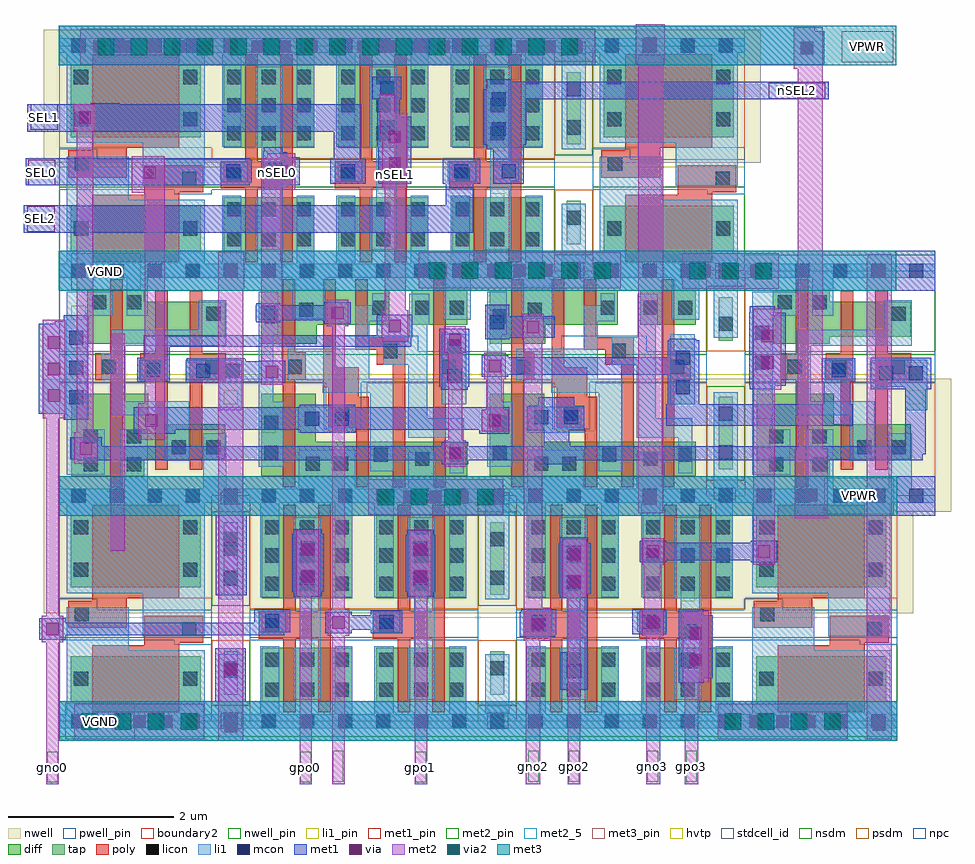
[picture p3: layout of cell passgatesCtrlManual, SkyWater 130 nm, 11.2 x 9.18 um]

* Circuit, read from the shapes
.subckt passgatesCtrlManual SEL0 SEL1 SEL2 VGND VPWR gno0 gno1 gno2 gno3 gpo0 gpo1 gpo2 gpo3 nSEL0 nSEL1 nSEL2
XM1 VGND VPWR VGND VGND sky130_fd_pr__nfet_01v8 w=0.55 l=1.05 m=4
XM2 VGND n1 gno0 VGND sky130_fd_pr__nfet_01v8 w=0.65 l=0.15
XM3 n2 nSEL1 VGND VGND sky130_fd_pr__nfet_01v8 w=0.42 l=0.15
XM4 n1 nSEL0 n2 VGND sky130_fd_pr__nfet_01v8 w=0.42 l=0.15
XM5 nSEL0 SEL0 VGND VGND sky130_fd_pr__nfet_01v8 w=0.65 l=0.15 m=2
XM6 VGND n3 gno1 VGND sky130_fd_pr__nfet_01v8 w=0.65 l=0.15
XM7 gpo0 gno0 VGND VGND sky130_fd_pr__nfet_01v8 w=0.65 l=0.15 m=2
XM8 n4 SEL0 VGND VGND sky130_fd_pr__nfet_01v8 w=0.42 l=0.15
XM9 n3 n5 n4 VGND sky130_fd_pr__nfet_01v8 w=0.42 l=0.15
XM10 nSEL1 SEL1 VGND VGND sky130_fd_pr__nfet_01v8 w=0.65 l=0.15 m=2
XM11 gpo1 gno1 VGND VGND sky130_fd_pr__nfet_01v8 w=0.65 l=0.15 m=2
XM12 VGND SEL1 n5 VGND sky130_fd_pr__nfet_01v8 w=0.42 l=0.15
XM13 nSEL2 SEL2 VGND VGND sky130_fd_pr__nfet_01v8 w=0.65 l=0.15 m=2
XM14 VGND n6 gno2 VGND sky130_fd_pr__nfet_01v8 w=0.65 l=0.15
XM15 gpo2 gno2 VGND VGND sky130_fd_pr__nfet_01v8 w=0.65 l=0.15 m=2
XM16 n7 SEL1 VGND VGND sky130_fd_pr__nfet_01v8 w=0.42 l=0.15
XM17 n6 n8 n7 VGND sky130_fd_pr__nfet_01v8 w=0.42 l=0.15
XM18 VGND SEL0 n8 VGND sky130_fd_pr__nfet_01v8 w=0.42 l=0.15
XM19 gpo3 gno3 VGND VGND sky130_fd_pr__nfet_01v8 w=0.65 l=0.15 m=2
XM20 VGND n9 gno3 VGND sky130_fd_pr__nfet_01v8 w=0.65 l=0.15
XM21 n10 SEL0 VGND VGND sky130_fd_pr__nfet_01v8 w=0.42 l=0.15
XM22 n9 SEL1 n10 VGND sky130_fd_pr__nfet_01v8 w=0.42 l=0.15
XM23 VPWR VGND VPWR VPWR sky130_fd_pr__pfet_01v8_hvt w=0.87 l=1.05 m=4
XM24 VPWR n1 gno0 VPWR sky130_fd_pr__pfet_01v8_hvt w=1 l=0.15
XM25 n1 nSEL1 VPWR VPWR sky130_fd_pr__pfet_01v8_hvt w=0.42 l=0.15
XM26 VPWR nSEL0 n1 VPWR sky130_fd_pr__pfet_01v8_hvt w=0.42 l=0.15
XM27 nSEL0 SEL0 VPWR VPWR sky130_fd_pr__pfet_01v8_hvt w=1 l=0.15 m=2
XM28 VPWR n3 gno1 VPWR sky130_fd_pr__pfet_01v8_hvt w=1 l=0.15
XM29 gpo0 gno0 VPWR VPWR sky130_fd_pr__pfet_01v8_hvt w=1 l=0.15 m=2
XM30 n3 SEL0 VPWR VPWR sky130_fd_pr__pfet_01v8_hvt w=0.42 l=0.15
XM31 nSEL1 SEL1 VPWR VPWR sky130_fd_pr__pfet_01v8_hvt w=1 l=0.15 m=2
XM32 VPWR n5 n3 VPWR sky130_fd_pr__pfet_01v8_hvt w=0.42 l=0.15
XM33 gpo1 gno1 VPWR VPWR sky130_fd_pr__pfet_01v8_hvt w=1 l=0.15 m=2
XM34 n5 SEL1 VPWR VPWR sky130_fd_pr__pfet_01v8_hvt w=0.42 l=0.15
XM35 nSEL2 SEL2 VPWR VPWR sky130_fd_pr__pfet_01v8_hvt w=1 l=0.15 m=2
XM36 VPWR n6 gno2 VPWR sky130_fd_pr__pfet_01v8_hvt w=1 l=0.15
XM37 gpo2 gno2 VPWR VPWR sky130_fd_pr__pfet_01v8_hvt w=1 l=0.15 m=2
XM38 n6 SEL1 VPWR VPWR sky130_fd_pr__pfet_01v8_hvt w=0.42 l=0.15
XM39 VPWR n8 n6 VPWR sky130_fd_pr__pfet_01v8_hvt w=0.42 l=0.15
XM40 n8 SEL0 VPWR VPWR sky130_fd_pr__pfet_01v8_hvt w=0.42 l=0.15
XM41 gpo3 gno3 VPWR VPWR sky130_fd_pr__pfet_01v8_hvt w=1 l=0.15 m=2
XM42 VPWR n9 gno3 VPWR sky130_fd_pr__pfet_01v8_hvt w=1 l=0.15
XM43 n9 SEL0 VPWR VPWR sky130_fd_pr__pfet_01v8_hvt w=0.42 l=0.15
XM44 VPWR SEL1 n9 VPWR sky130_fd_pr__pfet_01v8_hvt w=0.42 l=0.15
.ends

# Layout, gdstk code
from math import pi, radians
import gdstk
lib = gdstk.Library(unit=1e-6, precision=1e-09)
def R(c, l, rs):  # rectangles x0, y0, x1, y1
    for r in rs: c.add(gdstk.rectangle(r[:2], r[2:], *l))
def A(c, l, x, y, w, h, nx, ny, dx, dy):  # array of equal rectangles
    R(c, l, [(x+i*dx, y+j*dy, x+i*dx+w, y+j*dy+h) for i in range(nx) for j in range(ny)])
def P(c, l, *ps):  # polygons
    for p in ps: c.add(gdstk.Polygon(p, *l))
nwell_pin = (64, 16)
nwell = (64, 20)
diff = (65, 20)
tap = (65, 44)
poly = (66, 20)
licon = (66, 44)
li1_pin = (67, 16)
li1 = (67, 20)
mcon = (67, 44)
met1_pin = (68, 16)
met1 = (68, 20)
via = (68, 44)
met2_5 = (69, 5)
met2_pin = (69, 16)
met2 = (69, 20)
via2 = (69, 44)
met3_pin = (70, 16)
met3 = (70, 20)
hvtp = (78, 44)
stdcell_id = (81, 4)
nsdm = (93, 44)
psdm = (94, 20)
npc = (95, 20)
pwell_pin = (122, 16)
boundary2 = (236, 0)

sky130_fd_sc_hd__decap_4 = lib.new_cell('sky130_fd_sc_hd__decap_4')
R(sky130_fd_sc_hd__decap_4, nwell_pin, [(0.145,2.635,0.315,2.805)])
R(sky130_fd_sc_hd__decap_4, nwell, [(-0.19,1.305,2.03,2.91)])
R(sky130_fd_sc_hd__decap_4, diff, [(0.135,0.235,1.705,0.785), (0.135,1.615,1.705,2.485)])
P(sky130_fd_sc_hd__decap_4, poly, [(1.445,2.615),(0.395,2.615),(0.395,1.455),(0.105,1.455),(0.105,1.125),(0.815,1.125),(0.815,1.485),(1.445,1.485)],
  [(1.735,1.275),(1.025,1.275),(1.025,0.915),(0.395,0.915),(0.395,0.105),(1.445,0.105),(1.445,0.945),(1.735,0.945)])
R(sky130_fd_sc_hd__decap_4, licon, [(0.175,0.425,0.345,0.595), (1.495,0.425,1.665,0.595), (1.485,1.025,1.655,1.195), (0.185,1.205,0.355,1.375), (0.175,1.745,0.345,1.915), (1.495,1.745,1.665,1.915), (0.175,2.255,0.345,2.425), (1.495,2.255,1.665,2.425)])
P(sky130_fd_sc_hd__decap_4, li1, [(1.84,2.805),(0,2.805),(0,2.635),(0.085,2.635),(0.085,1.545),(1.005,1.545),(1.005,1.025),(1.755,1.025),(1.755,2.635),(1.84,2.635)],
  [(1.84,0.085),(1.755,0.085),(1.755,0.855),(0.835,0.855),(0.835,1.375),(0.085,1.375),(0.085,0.085),(0,0.085),(0,-0.085),(1.84,-0.085)])
A(sky130_fd_sc_hd__decap_4, mcon, 0.145, -0.085, 0.17, 0.17, 4, 2, 0.46, 2.72)
R(sky130_fd_sc_hd__decap_4, met1_pin, [(0.145,-0.085,0.315,0.085), (0.145,2.635,0.315,2.805)])
R(sky130_fd_sc_hd__decap_4, hvtp, [(0,1.25,1.84,2.72)])
R(sky130_fd_sc_hd__decap_4, stdcell_id, [(0,0,1.84,2.72)])
R(sky130_fd_sc_hd__decap_4, nsdm, [(0,-0.19,1.84,1.015)])
R(sky130_fd_sc_hd__decap_4, psdm, [(0,1.485,1.84,2.91)])
P(sky130_fd_sc_hd__decap_4, npc, [(1.84,1.345),(0.455,1.345),(0.455,1.475),(0,1.475),(0,0.975),(1.385,0.975),(1.385,0.925),(1.84,0.925)])
R(sky130_fd_sc_hd__decap_4, pwell_pin, [(0.145,-0.085,0.315,0.085)])
R(sky130_fd_sc_hd__decap_4, boundary2, [(0,0,1.84,2.72)])
sky130_fd_sc_hd__decap_4.add(gdstk.FlexPath([(0,2.72),(1.84,2.72)], 0.48, ends="flush", simple_path=True, layer=68, datatype=20))  # met1
sky130_fd_sc_hd__decap_4.add(gdstk.FlexPath([(0,0),(1.84,0)], 0.48, ends="flush", simple_path=True, layer=68, datatype=20))  # met1
sky130_fd_sc_hd__decap_4.add(gdstk.Label('VGND', (0.23,0), layer=68, texttype=5))
sky130_fd_sc_hd__decap_4.add(gdstk.Label('VPWR', (0.23,2.72), layer=68, texttype=5))
sky130_fd_sc_hd__decap_4.add(gdstk.Label('VPB', (0.23,2.72), layer=64, texttype=5))
sky130_fd_sc_hd__decap_4.add(gdstk.Label('VNB', (0.23,0), layer=64, texttype=59))
sky130_fd_sc_hd__decap_4.add(gdstk.Label('decap_4', (0,0), layer=83, texttype=44))

sky130_fd_sc_hd__inv_2 = lib.new_cell('sky130_fd_sc_hd__inv_2')
R(sky130_fd_sc_hd__inv_2, nwell_pin, [(0.145,2.635,0.315,2.805)])
R(sky130_fd_sc_hd__inv_2, nwell, [(-0.19,1.305,1.57,2.91)])
R(sky130_fd_sc_hd__inv_2, diff, [(0.145,0.235,1.235,0.885), (0.145,1.485,1.235,2.485)])
P(sky130_fd_sc_hd__inv_2, poly, [(0.975,2.615),(0.825,2.615),(0.825,1.325),(0.555,1.325),(0.555,2.615),(0.405,2.615),(0.405,1.325),(0.105,1.325),(0.105,0.995),(0.405,0.995),(0.405,0.105),(0.555,0.105),(0.555,0.995),(0.825,0.995),(0.825,0.105),(0.975,0.105)])
A(sky130_fd_sc_hd__inv_2, licon, 0.185, 0.295, 0.17, 0.17, 3, 2, 0.42, 0.36)
A(sky130_fd_sc_hd__inv_2, licon, 0.185, 1.575, 0.17, 0.17, 3, 3, 0.42, 0.34)
R(sky130_fd_sc_hd__inv_2, licon, [(0.185,1.075,0.355,1.245)])
A(sky130_fd_sc_hd__inv_2, li1_pin, 0.605, 0.765, 0.17, 0.17, 1, 3, 0, 0.34)
R(sky130_fd_sc_hd__inv_2, li1_pin, [(0.145,1.105,0.315,1.275)])
R(sky130_fd_sc_hd__inv_2, li1, [(0.105,1.075,0.435,1.325)])
P(sky130_fd_sc_hd__inv_2, li1, [(1.38,2.805),(0,2.805),(0,2.635),(0.125,2.635),(0.125,1.495),(0.355,1.495),(0.355,2.635),(1.025,2.635),(1.025,1.495),(1.235,1.495),(1.235,2.635),(1.38,2.635)],
  [(0.855,2.465),(0.525,2.465),(0.525,1.485),(0.605,1.485),(0.605,0.885),(0.525,0.885),(0.525,0.255),(0.855,0.255)],
  [(1.38,0.085),(1.235,0.085),(1.235,0.905),(1.025,0.905),(1.025,0.085),(0.355,0.085),(0.355,0.905),(0.125,0.905),(0.125,0.085),(0,0.085),(0,-0.085),(1.38,-0.085)])
A(sky130_fd_sc_hd__inv_2, mcon, 0.145, -0.085, 0.17, 0.17, 3, 2, 0.46, 2.72)
R(sky130_fd_sc_hd__inv_2, met1_pin, [(0.145,-0.085,0.315,0.085), (0.145,2.635,0.315,2.805)])
R(sky130_fd_sc_hd__inv_2, hvtp, [(0,1.25,1.38,2.72)])
R(sky130_fd_sc_hd__inv_2, stdcell_id, [(0,0,1.38,2.72)])
R(sky130_fd_sc_hd__inv_2, nsdm, [(0,-0.19,1.38,1.015)])
R(sky130_fd_sc_hd__inv_2, psdm, [(0,1.355,1.38,2.91)])
R(sky130_fd_sc_hd__inv_2, npc, [(0,0.975,1.38,1.345)])
R(sky130_fd_sc_hd__inv_2, pwell_pin, [(0.145,-0.085,0.315,0.085)])
R(sky130_fd_sc_hd__inv_2, boundary2, [(0,0,1.38,2.72)])
sky130_fd_sc_hd__inv_2.add(gdstk.FlexPath([(0,2.72),(1.38,2.72)], 0.48, ends="flush", simple_path=True, layer=68, datatype=20))  # met1
sky130_fd_sc_hd__inv_2.add(gdstk.FlexPath([(0,0),(1.38,0)], 0.48, ends="flush", simple_path=True, layer=68, datatype=20))  # met1
sky130_fd_sc_hd__inv_2.add(gdstk.Label('A', (0.23,1.19), layer=67, texttype=5))
sky130_fd_sc_hd__inv_2.add(gdstk.Label('Y', (0.69,0.85), layer=67, texttype=5))
sky130_fd_sc_hd__inv_2.add(gdstk.Label('Y', (0.69,1.53), layer=67, texttype=5))
sky130_fd_sc_hd__inv_2.add(gdstk.Label('Y', (0.69,1.19), layer=67, texttype=5))
sky130_fd_sc_hd__inv_2.add(gdstk.Label('VPB', (0.23,2.72), layer=64, texttype=5))
sky130_fd_sc_hd__inv_2.add(gdstk.Label('VNB', (0.23,0), layer=64, texttype=59))
sky130_fd_sc_hd__inv_2.add(gdstk.Label('VPWR', (0.23,2.72), layer=68, texttype=5))
sky130_fd_sc_hd__inv_2.add(gdstk.Label('VGND', (0.23,0), layer=68, texttype=5))
sky130_fd_sc_hd__inv_2.add(gdstk.Label('inv_2', (0,0), layer=83, texttype=44))

sky130_fd_sc_hd__and2_1 = lib.new_cell('sky130_fd_sc_hd__and2_1')
R(sky130_fd_sc_hd__and2_1, nwell_pin, [(0.145,2.635,0.315,2.805)])
R(sky130_fd_sc_hd__and2_1, nwell, [(-0.19,1.305,2.49,2.91)])
P(sky130_fd_sc_hd__and2_1, diff, [(1.965,0.885),(1.275,0.885),(1.275,0.795),(0.295,0.795),(0.295,0.375),(1.275,0.375),(1.275,0.235),(1.965,0.235)],
  [(2.16,2.485),(1.275,2.485),(1.275,2.275),(0.295,2.275),(0.295,1.855),(1.225,1.855),(1.225,1.485),(2.16,1.485)])
P(sky130_fd_sc_hd__and2_1, poly, [(1.865,1.325),(1.685,1.325),(1.685,2.615),(1.535,2.615),(1.535,0.105),(1.685,0.105),(1.685,0.995),(1.865,0.995)],
  [(0.725,2.405),(0.575,2.405),(0.575,1.325),(0.29,1.325),(0.29,0.995),(0.575,0.995),(0.575,0.245),(0.725,0.245)],
  [(1.325,1.325),(1.145,1.325),(1.145,2.405),(0.995,2.405),(0.995,0.245),(1.145,0.245),(1.145,0.995),(1.325,0.995)])
R(sky130_fd_sc_hd__and2_1, licon, [(1.315,0.295,1.485,0.465), (1.735,0.295,1.905,0.465), (0.355,0.435,0.525,0.605), (0.37,1.075,0.54,1.245), (1.075,1.075,1.245,1.245), (1.615,1.075,1.785,1.245), (1.315,1.915,1.485,2.085), (1.835,1.915,2.005,2.085), (0.355,2.045,0.525,2.215), (0.775,2.045,0.945,2.215), (1.315,2.255,1.485,2.425), (1.835,2.255,2.005,2.425)])
A(sky130_fd_sc_hd__and2_1, li1_pin, 1.985, 0.425, 0.17, 0.17, 1, 6, 0, 0.34)
A(sky130_fd_sc_hd__and2_1, li1_pin, 0.145, 1.105, 0.17, 0.17, 3, 1, 0.46, 0)
R(sky130_fd_sc_hd__and2_1, li1_pin, [(0.145,1.445,0.315,1.615)])
R(sky130_fd_sc_hd__and2_1, li1, [(0.995,1.075,1.335,1.325)])
P(sky130_fd_sc_hd__and2_1, li1, [(2.215,2.465),(1.755,2.465),(1.755,1.915),(1.965,1.915),(1.965,0.545),(1.655,0.545),(1.655,0.255),(2.215,0.255)],
  [(2.3,2.805),(0,2.805),(0,2.635),(0.285,2.635),(0.285,1.965),(0.565,1.965),(0.565,2.635),(1.235,2.635),(1.235,1.915),(1.565,1.915),(1.565,2.635),(2.3,2.635)],
  [(0.1,1.075),(0.1,1.685),(0.365,1.685),(0.365,1.325),(0.775,1.325),(0.775,1.075)],
  [(2.3,0.085),(1.485,0.085),(1.485,0.545),(1.235,0.545),(1.235,0.085),(0,0.085),(0,-0.085),(2.3,-0.085)],
  [(1.795,1.325),(1.675,1.325),(1.675,1.745),(1.035,1.745),(1.035,2.295),(0.735,2.295),(0.735,1.575),(1.505,1.575),(1.505,0.905),(0.285,0.905),(0.285,0.355),(0.615,0.355),(0.615,0.715),(1.675,0.715),(1.675,0.995),(1.795,0.995)])
A(sky130_fd_sc_hd__and2_1, mcon, 0.145, -0.085, 0.17, 0.17, 5, 2, 0.46, 2.72)
R(sky130_fd_sc_hd__and2_1, met1_pin, [(0.145,-0.085,0.315,0.085), (0.145,2.635,0.315,2.805)])
R(sky130_fd_sc_hd__and2_1, hvtp, [(0,1.25,2.3,2.72)])
R(sky130_fd_sc_hd__and2_1, stdcell_id, [(0,0,2.3,2.72)])
R(sky130_fd_sc_hd__and2_1, nsdm, [(0,-0.19,2.3,1.015)])
R(sky130_fd_sc_hd__and2_1, psdm, [(0,1.355,2.3,2.91)])
R(sky130_fd_sc_hd__and2_1, npc, [(0,0.975,2.3,1.345)])
R(sky130_fd_sc_hd__and2_1, pwell_pin, [(0.145,-0.085,0.315,0.085)])
R(sky130_fd_sc_hd__and2_1, boundary2, [(0,0,2.3,2.72)])
sky130_fd_sc_hd__and2_1.add(gdstk.FlexPath([(0,0),(2.3,0)], 0.48, ends="flush", simple_path=True, layer=68, datatype=20))  # met1
sky130_fd_sc_hd__and2_1.add(gdstk.FlexPath([(0,2.72),(2.3,2.72)], 0.48, ends="flush", simple_path=True, layer=68, datatype=20))  # met1
sky130_fd_sc_hd__and2_1.add(gdstk.Label('VPWR', (0.23,2.72), layer=68, texttype=5))
sky130_fd_sc_hd__and2_1.add(gdstk.Label('VGND', (0.23,0), layer=68, texttype=5))
sky130_fd_sc_hd__and2_1.add(gdstk.Label('X', (2.07,0.85), layer=67, texttype=5))
sky130_fd_sc_hd__and2_1.add(gdstk.Label('X', (2.07,0.51), layer=67, texttype=5))
sky130_fd_sc_hd__and2_1.add(gdstk.Label('X', (2.07,1.19), layer=67, texttype=5))
sky130_fd_sc_hd__and2_1.add(gdstk.Label('X', (2.07,1.53), layer=67, texttype=5))
sky130_fd_sc_hd__and2_1.add(gdstk.Label('X', (2.07,1.87), layer=67, texttype=5))
sky130_fd_sc_hd__and2_1.add(gdstk.Label('X', (2.07,2.21), layer=67, texttype=5))
sky130_fd_sc_hd__and2_1.add(gdstk.Label('B', (1.15,1.19), layer=67, texttype=5))
sky130_fd_sc_hd__and2_1.add(gdstk.Label('A', (0.69,1.19), layer=67, texttype=5))
sky130_fd_sc_hd__and2_1.add(gdstk.Label('A', (0.23,1.19), layer=67, texttype=5))
sky130_fd_sc_hd__and2_1.add(gdstk.Label('VPB', (0.23,2.72), layer=64, texttype=5))
sky130_fd_sc_hd__and2_1.add(gdstk.Label('VNB', (0.23,0), layer=64, texttype=59))
sky130_fd_sc_hd__and2_1.add(gdstk.Label('and2_1', (0,0), layer=83, texttype=44))

sky130_fd_sc_hd__and2b_1 = lib.new_cell('sky130_fd_sc_hd__and2b_1')
R(sky130_fd_sc_hd__and2b_1, nwell_pin, [(0.145,2.635,0.315,2.805)])
R(sky130_fd_sc_hd__and2b_1, nwell, [(-0.19,1.305,2.95,2.91)])
R(sky130_fd_sc_hd__and2b_1, diff, [(0.135,0.235,0.805,0.655)])
P(sky130_fd_sc_hd__and2b_1, diff, [(2.625,0.885),(1.955,0.885),(1.955,0.655),(1.075,0.655),(1.075,0.235),(2.625,0.235)],
  [(2.625,2.485),(0.135,2.485),(0.135,2.065),(1.965,2.065),(1.965,1.485),(2.625,1.485)])
P(sky130_fd_sc_hd__and2b_1, poly, [(2.365,2.615),(2.215,2.615),(2.215,1.325),(2.085,1.325),(2.085,0.985),(2.215,0.985),(2.215,0.105),(2.365,0.105)],
  [(1.875,1.41),(1.815,1.41),(1.815,1.895),(1.475,1.895),(1.475,2.615),(1.325,2.615),(1.325,1.525),(1.445,1.525),(1.445,1.165),(1.725,1.165),(1.725,0.105),(1.875,0.105)],
  [(1.485,0.955),(1.23,0.955),(1.23,1.135),(1.035,1.135),(1.035,2.615),(0.885,2.615),(0.885,0.805),(1.335,0.805),(1.335,0.105),(1.485,0.105)],
  [(0.545,2.615),(0.395,2.615),(0.395,1.325),(0.195,1.325),(0.195,0.995),(0.395,0.995),(0.395,0.105),(0.545,0.105)])
R(sky130_fd_sc_hd__and2b_1, licon, [(0.175,0.36,0.345,0.53), (0.595,0.36,0.765,0.53), (1.115,0.36,1.285,0.53), (1.995,0.385,2.165,0.555), (2.415,0.465,2.585,0.635), (0.98,0.885,1.15,1.055), (0.275,1.075,0.445,1.245), (2.135,1.075,2.305,1.245), (1.56,1.645,1.73,1.815), (2.415,1.75,2.585,1.92), (2.415,2.115,2.585,2.285), (0.175,2.14,0.345,2.31), (1.095,2.14,1.265,2.31), (0.595,2.185,0.765,2.355), (1.575,2.245,1.745,2.415), (1.915,2.245,2.085,2.415)])
A(sky130_fd_sc_hd__and2b_1, li1_pin, 0.145, 0.765, 0.17, 0.17, 1, 3, 0, 0.34)
A(sky130_fd_sc_hd__and2b_1, li1_pin, 1.525, 1.785, 0.17, 0.17, 3, 1, 0.46, 0)
R(sky130_fd_sc_hd__and2b_1, li1_pin, [(2.445,0.425,2.615,0.595), (2.445,2.125,2.615,2.295)])
R(sky130_fd_sc_hd__and2b_1, li1, [(0.145,0.765,0.445,1.615), (1.48,1.645,2.175,1.955)])
P(sky130_fd_sc_hd__and2b_1, li1, [(2.655,2.365),(2.35,2.365),(2.35,1.58),(2.48,1.58),(2.48,0.775),(2.415,0.775),(2.415,0.255),(2.655,0.255)],
  [(2.76,2.805),(0,2.805),(0,2.635),(0.515,2.635),(0.515,2.185),(0.845,2.185),(0.845,2.635),(1.485,2.635),(1.485,2.165),(2.17,2.165),(2.17,2.635),(2.76,2.635)],
  [(2.305,1.325),(1.88,1.325),(1.88,1.475),(1.305,1.475),(1.305,2.42),(1.02,2.42),(1.02,1.305),(1.32,1.305),(1.32,0.61),(1.115,0.61),(1.115,0.27),(1.285,0.27),(1.285,0.415),(1.49,0.415),(1.49,0.945),(2.305,0.945)],
  [(1.15,1.135),(0.85,1.135),(0.85,2.015),(0.345,2.015),(0.345,2.445),(0.175,2.445),(0.175,1.785),(0.615,1.785),(0.615,0.655),(0.595,0.655),(0.595,0.28),(0.835,0.28),(0.835,0.805),(1.15,0.805)],
  [(2.76,0.085),(2.245,0.085),(2.245,0.58),(1.85,0.58),(1.85,0.085),(0.425,0.085),(0.425,0.59),(0.09,0.59),(0.09,0.085),(0,0.085),(0,-0.085),(2.76,-0.085)])
A(sky130_fd_sc_hd__and2b_1, mcon, 0.145, -0.085, 0.17, 0.17, 6, 2, 0.46, 2.72)
R(sky130_fd_sc_hd__and2b_1, met1_pin, [(0.145,-0.085,0.315,0.085), (0.145,2.635,0.315,2.805)])
R(sky130_fd_sc_hd__and2b_1, hvtp, [(0,1.25,2.76,2.72)])
R(sky130_fd_sc_hd__and2b_1, stdcell_id, [(0,0,2.76,2.72)])
R(sky130_fd_sc_hd__and2b_1, nsdm, [(0,-0.19,2.76,1.015)])
P(sky130_fd_sc_hd__and2b_1, psdm, [(2.76,2.91),(0,2.91),(0,1.355),(1.35,1.355),(1.35,1.935),(1.84,1.935),(1.84,1.355),(2.76,1.355)])
P(sky130_fd_sc_hd__and2b_1, npc, [(2.76,1.345),(1.865,1.345),(1.865,1.915),(1.415,1.915),(1.415,1.345),(0,1.345),(0,0.975),(0.725,0.975),(0.725,0.785),(1.76,0.785),(1.76,0.975),(2.76,0.975)])
R(sky130_fd_sc_hd__and2b_1, pwell_pin, [(0.145,-0.085,0.315,0.085)])
R(sky130_fd_sc_hd__and2b_1, boundary2, [(0,0,2.76,2.72)])
sky130_fd_sc_hd__and2b_1.add(gdstk.FlexPath([(0,0),(2.76,0)], 0.48, ends="flush", simple_path=True, layer=68, datatype=20))  # met1
sky130_fd_sc_hd__and2b_1.add(gdstk.FlexPath([(0,2.72),(2.76,2.72)], 0.48, ends="flush", simple_path=True, layer=68, datatype=20))  # met1
sky130_fd_sc_hd__and2b_1.add(gdstk.Label('X', (2.53,1.87), layer=67, texttype=5))
sky130_fd_sc_hd__and2b_1.add(gdstk.Label('A_N', (0.23,1.53), layer=67, texttype=5))
sky130_fd_sc_hd__and2b_1.add(gdstk.Label('A_N', (0.23,0.85), layer=67, texttype=5))
sky130_fd_sc_hd__and2b_1.add(gdstk.Label('B', (1.61,1.87), layer=67, texttype=5))
sky130_fd_sc_hd__and2b_1.add(gdstk.Label('X', (2.53,0.51), layer=67, texttype=5))
sky130_fd_sc_hd__and2b_1.add(gdstk.Label('A_N', (0.23,1.19), layer=67, texttype=5))
sky130_fd_sc_hd__and2b_1.add(gdstk.Label('B', (2.07,1.87), layer=67, texttype=5))
sky130_fd_sc_hd__and2b_1.add(gdstk.Label('X', (2.53,2.21), layer=67, texttype=5))
sky130_fd_sc_hd__and2b_1.add(gdstk.Label('VGND', (0.23,0), layer=68, texttype=5))
sky130_fd_sc_hd__and2b_1.add(gdstk.Label('VPWR', (0.23,2.72), layer=68, texttype=5))
sky130_fd_sc_hd__and2b_1.add(gdstk.Label('VPB', (0.23,2.72), layer=64, texttype=5))
sky130_fd_sc_hd__and2b_1.add(gdstk.Label('VNB', (0.23,0), layer=64, texttype=59))
sky130_fd_sc_hd__and2b_1.add(gdstk.Label('and2b_1', (0,0), layer=83, texttype=44))

sky130_fd_sc_hd__tapvpwr = lib.new_cell('sky130_fd_sc_hd__tapvpwrvgnd_1')
R(sky130_fd_sc_hd__tapvpwr, nwell, [(-0.19,1.305,0.65,2.91)])
R(sky130_fd_sc_hd__tapvpwr, tap, [(0.145,0.32,0.315,0.845), (0.145,1.525,0.315,2.4)])
R(sky130_fd_sc_hd__tapvpwr, licon, [(0.145,0.555,0.315,0.725), (0.145,1.645,0.315,1.815), (0.145,2.11,0.315,2.28)])
R(sky130_fd_sc_hd__tapvpwr, li1, [(0,-0.085,0.46,0.085), (0.085,0,0.375,0.81), (0.085,1.47,0.375,2.72), (0,2.635,0.46,2.805)])
R(sky130_fd_sc_hd__tapvpwr, mcon, [(0.145,-0.085,0.315,0.085), (0.145,2.635,0.315,2.805)])
R(sky130_fd_sc_hd__tapvpwr, met1_pin, [(0.105,-0.09,0.36,0.1), (0.11,2.62,0.375,2.765)])
R(sky130_fd_sc_hd__tapvpwr, met1, [(0,-0.24,0.46,0.24), (0,2.48,0.46,2.96)])
R(sky130_fd_sc_hd__tapvpwr, hvtp, [(0,1.25,0.46,2.72)])
R(sky130_fd_sc_hd__tapvpwr, stdcell_id, [(0,0,0.46,2.72)])
R(sky130_fd_sc_hd__tapvpwr, nsdm, [(0,-0.19,0.46,0.19), (0,1.395,0.46,2.53)])
R(sky130_fd_sc_hd__tapvpwr, psdm, [(0,0.19,0.46,0.975), (0,2.53,0.46,2.91)])
sky130_fd_sc_hd__tapvpwr.add(gdstk.Label('VPWR', (0.23,2.72), layer=68, texttype=5))
sky130_fd_sc_hd__tapvpwr.add(gdstk.Label('VGND', (0.23,0), layer=68, texttype=5))
sky130_fd_sc_hd__tapvpwr.add(gdstk.Label('tapvpwrvgnd_1', (0,0), layer=83, texttype=44))

passgatesctrlmanual = lib.new_cell('passgatesCtrlManual')
R(passgatesctrlmanual, li1, [(5.73,-22.82,5.93,-22.42), (9.84,-22.79,10.11,-22.46), (11.27,-22.71,11.51,-21.94), (9.4,-22.15,9.7,-21.91), (10.74,-22.15,11.03,-21.91), (7.58,-22.14,7.84,-21.92), (6.17,-22.13,6.49,-21.91), (9.83,-21.68,10.11,-21.07), (6.62,-21.67,6.9,-20.97), (7.99,-21.67,8.25,-20.98), (5.74,-21.64,5.92,-21.02), (6.72,-19.72,7.26,-19.45), (9.49,-19.67,10.03,-19.45), (3.84,-19.53,4.08,-18.39), (11.16,-19.37,11.42,-18.67), (13.62,-19.19,14.23,-18.87), (8.4,-19.17,8.66,-18.59), (12.13,-19.16,12.37,-18.28), (5.4,-19.11,5.95,-18.89), (4.76,-19.1,5.03,-18.87), (13.04,-19.1,13.31,-18.88), (8.93,-18.56,9.16,-18.26), (6.195,-18.385,6.365,-18.215), (6.25,-16.72,6.48,-16.42), (7.09,-16.71,7.4,-16.47), (8.45,-16.71,8.78,-16.47), (9.06,-16.71,9.31,-16.47), (5.7,-16.7,6.02,-16.48), (8.95,-16.26,9.18,-15.54), (7.63,-16.23,7.81,-15.69), (7.6,-15.69,7.83,-15.48)])
A(passgatesctrlmanual, mcon, 3.875, -19.405, 0.17, 0.17, 1, 3, 0, 0.36)
R(passgatesctrlmanual, mcon, [(9.89,-22.71,10.06,-22.54), (5.745,-22.705,5.915,-22.535), (11.305,-22.59,11.475,-22.42), (11.305,-22.23,11.475,-22.06), (7.625,-22.115,7.795,-21.945), (9.465,-22.115,9.635,-21.945), (10.8,-22.115,10.97,-21.945), (6.245,-22.105,6.415,-21.935), (9.885,-21.64,10.055,-21.47), (5.745,-21.595,5.915,-21.425), (8.035,-21.59,8.205,-21.42), (6.675,-21.585,6.845,-21.415), (9.885,-21.28,10.055,-21.11), (5.745,-21.235,5.915,-21.065), (8.035,-21.23,8.205,-21.06), (6.675,-21.225,6.845,-21.055), (6.725,-19.665,6.895,-19.495), (7.085,-19.665,7.255,-19.495), (9.495,-19.645,9.665,-19.475), (9.855,-19.645,10.025,-19.475), (11.205,-19.285,11.375,-19.115), (8.445,-19.145,8.615,-18.975), (13.66,-19.115,13.83,-18.945), (14.02,-19.115,14.19,-18.945), (5.41,-19.085,5.58,-18.915), (5.77,-19.085,5.94,-18.915), (13.09,-19.075,13.26,-18.905), (4.81,-19.07,4.98,-18.9), (12.165,-18.985,12.335,-18.815), (11.205,-18.925,11.375,-18.755), (8.445,-18.785,8.615,-18.615), (12.165,-18.625,12.335,-18.455), (8.96,-18.495,9.13,-18.325), (6.195,-18.385,6.365,-18.215), (5.775,-16.675,5.945,-16.505), (7.16,-16.675,7.33,-16.505), (8.53,-16.675,8.7,-16.505), (9.1,-16.675,9.27,-16.505), (6.28,-16.655,6.45,-16.485), (8.98,-16.165,9.15,-15.995), (7.635,-16.14,7.805,-15.97), (8.98,-15.805,9.15,-15.635), (7.635,-15.67,7.805,-15.5)])
R(passgatesctrlmanual, met1_pin, [(3.37,-17.32,3.7,-17.01), (3.38,-16.76,3.71,-16.45), (3.41,-16.09,3.74,-15.78), (12.33,-15.71,13.01,-15.52)])
R(passgatesctrlmanual, met1, [(5.65,-23.44,6.01,-23.17), (13.48,-23.42,13.84,-23.12), (3.89,-23.4,5.56,-23.07), (11.66,-23.4,13.33,-23.07), (5.64,-23.17,6.01,-22.35), (9.81,-22.85,10.14,-22.4), (11.24,-22.77,11.54,-22.71), (11.24,-22.71,11.65,-21.95), (9.9,-22.4,10.14,-21.74), (3.515,-22.25,3.835,-22.195), (9.32,-22.21,9.75,-22.18), (3.515,-22.195,6.475,-22.16), (9.32,-22.18,9.76,-21.91), (10.68,-22.18,11.09,-21.88), (6.97,-22.17,7.29,-22.125), (7.52,-22.17,7.9,-22.125), (3.515,-22.16,6.55,-22.045), (6.97,-22.125,7.9,-21.95), (3.515,-22.045,3.835,-21.99), (6.11,-22.045,6.55,-21.88), (6.97,-21.95,7.29,-21.91), (7.52,-21.95,7.9,-21.89), (11.24,-21.95,11.54,-21.88), (9.34,-21.91,9.76,-21.88), (9.8,-21.74,10.14,-21.69), (6.59,-21.73,6.93,-21.67), (7.96,-21.73,8.28,-21.67), (5.65,-21.71,6.02,-20.72), (9.79,-21.69,10.18,-21.08), (6.57,-21.67,6.95,-20.97), (7.94,-21.67,8.3,-20.98), (10.77,-21.31,11.09,-21.285), (12.11,-21.31,12.43,-21.285), (10.77,-21.285,12.43,-21.075), (9.8,-21.08,10.14,-21.01), (10.77,-21.075,11.09,-21.05), (12.11,-21.075,12.43,-21.05), (7.96,-20.98,8.28,-20.92), (6.59,-20.97,6.93,-20.91), (12.59,-20.72,13.09,-20.28), (7.44,-20.69,9.17,-20.36), (10.72,-20.69,11.08,-20.39), (8.38,-20.125,8.7,-20.08), (9.61,-20.125,9.93,-20.08), (3.98,-20.08,14.185,-20.07), (3.89,-20.07,14.185,-20.005), (3.89,-20.005,14.225,-19.91), (3.89,-19.91,4.27,-19.8), (8.38,-19.91,8.7,-19.865), (9.61,-19.91,9.93,-19.865), (13.975,-19.91,14.225,-19.22), (9.61,-19.865,9.92,-19.72), (4.66,-19.76,5.16,-19.71), (8.83,-19.76,9.19,-19.71), (6.67,-19.75,7.34,-19.71), (9.41,-19.72,10.1,-19.44), (4.66,-19.71,9.19,-19.44), (11.09,-19.66,13.34,-19.4), (3.81,-19.59,4.11,-19.52), (3.51,-19.52,4.11,-18.43), (6.66,-19.44,7.33,-19.41), (9.43,-19.44,10.09,-19.42), (9.54,-19.42,9.98,-19.32), (11.11,-19.4,11.49,-19.045), (12.99,-19.4,13.31,-19.13), (8.37,-19.23,8.69,-19.19), (12.1,-19.22,12.4,-19.18), (13.56,-19.22,14.29,-19.125), (8.35,-19.19,8.71,-18.49), (12.09,-19.18,12.53,-18.3), (5.3,-19.14,6.01,-19.135), (6.165,-19.14,6.485,-19.135), (5.285,-19.135,6.485,-18.885), (4.7,-19.13,5.09,-18.84), (12.97,-19.13,13.37,-18.86), (13.555,-19.125,14.29,-18.875), (8.86,-19.07,9.18,-19.045), (8.86,-19.045,11.49,-18.835), (5.3,-18.885,6.01,-18.86), (6.165,-18.885,6.485,-18.88), (13.56,-18.875,14.29,-18.84), (5.3,-18.86,6,-18.85), (12.98,-18.86,13.37,-18.85), (4.78,-18.84,5.09,-18.71), (8.86,-18.835,9.18,-18.81), (11.11,-18.835,11.49,-18.63), (4.78,-18.71,8.01,-18.6), (11.13,-18.63,11.45,-18.61), (8.9,-18.62,9.19,-18.6), (4.78,-18.6,8.02,-18.57), (8.9,-18.6,9.74,-18.34), (7.59,-18.57,8.02,-18.34), (3.7,-18.43,4.11,-18.4), (6.96,-18.43,7.28,-18.39), (6.135,-18.415,6.425,-18.4), (3.81,-18.4,4.11,-18.33), (6.13,-18.4,6.425,-18.39), (6.13,-18.39,7.28,-18.21), (7.6,-18.34,8.02,-18.32), (8.9,-18.34,9.19,-18.2), (12.1,-18.3,12.4,-18.22), (6.13,-18.21,6.425,-18.2), (6.96,-18.21,7.28,-18.17), (6.135,-18.2,6.425,-18.185), (5.63,-17.96,6.04,-17.61), (11.23,-17.96,12.5,-17.63), (8.05,-17.95,10.59,-17.62), (13.47,-17.95,13.86,-17.64), (3.33,-17.33,8.755,-17), (8.425,-17,8.755,-16.74), (6.23,-16.81,6.45,-16.78), (6.22,-16.78,6.51,-16.76), (3.35,-16.76,6.06,-16.73), (6.22,-16.76,6.66,-16.42), (7.03,-16.74,7.46,-16.44), (7.61,-16.74,8.01,-16.29), (8.39,-16.74,8.84,-16.44), (9,-16.74,9.37,-16.32), (3.35,-16.73,6.08,-16.45), (3.35,-16.45,6.06,-16.43), (7.075,-16.44,7.405,-16.11), (6.22,-16.42,6.51,-16.36), (6.23,-16.36,6.45,-16.3), (8.92,-16.32,9.37,-16.27), (7.6,-16.29,8.01,-15.93), (8.88,-16.27,9.4,-15.72), (3.37,-16.11,7.405,-15.78), (7.6,-15.93,7.87,-15.72), (4.14,-15.78,4.49,-15.77), (7.54,-15.72,7.89,-15.45), (8.88,-15.72,13.05,-15.6), (8.92,-15.6,13.05,-15.51), (8.92,-15.51,9.21,-15.48), (11.63,-15.3,13,-14.9), (3.96,-15.25,10.28,-14.92), (10.67,-15.24,11.12,-14.86), (11.63,-14.9,12.88,-14.83)])
A(passgatesctrlmanual, via, 4.01, -23.31, 0.15, 0.15, 5, 1, 0.32, 0)
A(passgatesctrlmanual, via, 11.78, -23.31, 0.15, 0.15, 5, 1, 0.32, 0)
A(passgatesctrlmanual, via, 7.59, -20.6, 0.15, 0.15, 5, 1, 0.32, 0)
A(passgatesctrlmanual, via, 3.62, -19.37, 0.15, 0.15, 1, 3, 0, 0.32)
A(passgatesctrlmanual, via, 11.47, -17.87, 0.15, 0.15, 3, 1, 0.32, 0)
A(passgatesctrlmanual, via, 8.285, -17.86, 0.15, 0.15, 7, 1, 0.32, 0)
A(passgatesctrlmanual, via, 4.165, -15.16, 0.15, 0.15, 19, 1, 0.32, 0)
R(passgatesctrlmanual, via, [(5.755,-23.365,5.905,-23.215), (13.585,-23.345,13.735,-23.195), (5.75,-22.675,5.9,-22.525), (11.37,-22.565,11.52,-22.415), (11.37,-22.245,11.52,-22.095), (3.6,-22.195,3.75,-22.045), (9.46,-22.135,9.61,-21.985), (7.055,-22.115,7.205,-21.965), (10.855,-22.115,11.005,-21.965), (9.91,-21.62,10.06,-21.47), (8.045,-21.56,8.195,-21.41), (6.685,-21.555,6.835,-21.405), (9.91,-21.3,10.06,-21.15), (10.855,-21.255,11.005,-21.105), (12.195,-21.255,12.345,-21.105), (8.045,-21.24,8.195,-21.09), (6.685,-21.235,6.835,-21.085), (10.825,-20.615,10.975,-20.465), (12.765,-20.575,12.915,-20.425), (8.465,-20.07,8.615,-19.92), (4.005,-20.01,4.155,-19.86), (4.795,-19.675,4.945,-19.525), (8.945,-19.675,9.095,-19.525), (6.25,-19.085,6.4,-18.935), (8.945,-19.015,9.095,-18.865), (12.235,-18.975,12.385,-18.825), (8.465,-18.695,8.615,-18.545), (12.235,-18.655,12.385,-18.505), (9.405,-18.545,9.555,-18.395), (7.735,-18.535,7.885,-18.385), (7.045,-18.375,7.195,-18.225), (13.59,-17.87,13.74,-17.72), (5.76,-17.86,5.91,-17.71), (4.78,-16.68,4.93,-16.53), (6.365,-16.665,6.515,-16.515), (7.735,-16.57,7.885,-16.42), (7.735,-16.25,7.885,-16.1), (3.99,-16.015,4.14,-15.865), (12.715,-15.175,12.865,-15.025), (10.82,-15.125,10.97,-14.975)])
R(passgatesctrlmanual, met2_5, [(7.67,-16.75,7.96,-16.51), (6.23,-16.74,6.55,-16.47)])
R(passgatesctrlmanual, met2_pin, [(3.61,-23.97,3.74,-23.6), (6.67,-23.97,6.8,-23.6), (8.06,-23.97,8.19,-23.6), (7.06,-23.96,7.19,-23.59), (9.42,-23.96,9.55,-23.59), (9.91,-23.96,10.04,-23.59), (10.86,-23.96,10.99,-23.59), (11.33,-23.96,11.46,-23.59)])
R(passgatesctrlmanual, met2, [(3.6,-23.99,3.75,-22.28), (6.66,-23.99,6.81,-21.72), (7.055,-23.99,7.205,-22.2), (8.05,-23.99,8.2,-21.72), (9.395,-23.99,9.565,-22.26), (9.9,-23.99,10.05,-21.74), (10.85,-23.99,11.015,-22.2), (11.31,-23.99,11.475,-22.76), (5.68,-23.47,5.98,-18.01), (3.94,-23.45,5.51,-23.02), (11.71,-23.45,13.28,-23.02), (13.51,-23.45,13.81,-17.64), (11.29,-22.76,11.6,-21.9), (3.545,-22.28,3.805,-21.96), (9.37,-22.26,9.7,-21.86), (7,-22.2,7.26,-21.88), (10.8,-22.2,11.06,-21.88), (3.6,-21.96,3.75,-19.57), (7.055,-21.88,7.205,-18.46), (10.825,-21.88,11.035,-21.34), (9.37,-21.86,9.59,-18.63), (9.84,-21.74,10.13,-21.03), (6.62,-21.72,6.9,-20.92), (7.99,-21.72,8.25,-20.93), (10.8,-21.34,11.06,-21.02), (12.14,-21.34,12.4,-19.23), (4.38,-21.17,4.55,-18.55), (12.64,-20.78,13.04,-19.94), (7.49,-20.74,9.12,-20.31), (10.75,-20.72,11.05,-15.29), (8.41,-20.155,8.67,-19.835), (3.94,-20.12,4.22,-19.75), (12.68,-19.94,12.98,-15.35), (8.455,-19.835,8.625,-18.78), (4.71,-19.83,5.03,-19.39), (3.97,-19.75,4.165,-16.1), (8.86,-19.73,9.18,-19.47), (3.56,-19.57,3.83,-18.38), (8.915,-19.47,9.125,-19.1), (4.79,-19.39,5.03,-16.85), (12.14,-19.23,12.48,-18.25), (6.195,-19.17,6.455,-18.85), (8.89,-19.1,9.15,-18.78), (6.2,-18.85,6.45,-16.81), (8.41,-18.78,8.67,-18.46), (7.65,-18.65,7.97,-18.27), (9.35,-18.63,9.61,-18.31), (6.99,-18.46,7.25,-18.14), (7.69,-18.27,7.94,-16.79), (5.68,-18.01,5.99,-17.56), (11.28,-18.01,12.45,-17.58), (8.1,-18,10.54,-17.57), (13.52,-17.64,13.81,-17.59), (4.63,-16.85,5.03,-16.41), (6.2,-16.81,6.61,-16.43), (7.66,-16.79,7.96,-16.23), (6.27,-16.43,6.61,-16.37), (7.63,-16.23,7.96,-15.88), (3.935,-16.1,4.195,-15.78), (7.63,-15.88,7.81,-15.66), (12.63,-15.35,12.98,-14.85), (4.01,-15.3,10.23,-14.87), (10.72,-15.29,11.07,-14.81)])
A(passgatesctrlmanual, via2, 4.025, -23.335, 0.2, 0.2, 4, 1, 0.4, 0)
A(passgatesctrlmanual, via2, 11.795, -23.335, 0.2, 0.2, 4, 1, 0.4, 0)
A(passgatesctrlmanual, via2, 7.605, -20.625, 0.2, 0.2, 4, 1, 0.4, 0)
A(passgatesctrlmanual, via2, 11.365, -17.895, 0.2, 0.2, 3, 1, 0.4, 0)
A(passgatesctrlmanual, via2, 8.22, -17.885, 0.2, 0.2, 6, 1, 0.4, 0)
A(passgatesctrlmanual, via2, 4.22, -15.185, 0.2, 0.2, 15, 1, 0.4, 0)
R(passgatesctrlmanual, met3_pin, [(3.83,-23.45,4.67,-23.01), (13,-20.73,13.84,-20.29), (3.9,-18.02,4.74,-17.58), (13.21,-15.27,13.83,-14.9)])
R(passgatesctrlmanual, met3, [(3.76,-23.47,13.88,-22.99), (3.76,-20.75,13.88,-20.27), (3.75,-18.03,13.87,-17.55), (3.75,-15.31,13.87,-14.83)])
R(passgatesctrlmanual, hvtp, [(9.335,-20.885,9.505,-20.565), (7.215,-20.88,7.665,-20.565), (4.195,-20.565,5.385,-20.455), (6.285,-20.565,8.595,-20.455), (9.335,-20.565,10.435,-20.455), (10.885,-20.565,11.365,-20.455), (12.475,-20.565,13.665,-20.455), (4.705,-20.455,5.385,-20.245), (6.785,-20.455,7.165,-20.14), (9.545,-20.455,9.925,-20.135), (12.985,-20.455,13.665,-20.245)])
R(passgatesctrlmanual, nsdm, [(7.42,-23.12,7.46,-22.22), (10.64,-23.12,10.68,-22.22), (12.02,-23.12,12.05,-22.32), (5.89,-18.71,6.07,-18.04), (8.81,-18.57,8.83,-17.9), (4.91,-18.04,6.07,-17.9), (11.57,-17.98,12.25,-17.9), (3.97,-17.9,9.72,-17.68), (10.21,-17.9,12.625,-17.68), (5.59,-17.68,5.62,-16.88), (6.96,-17.68,7,-16.78), (8.34,-17.68,8.38,-16.78), (12.03,-17.68,12.625,-17.6)])
R(passgatesctrlmanual, psdm, [(7.42,-21.87,7.46,-20.62), (10.64,-21.87,10.68,-20.62), (12.02,-21.74,12.05,-20.62), (8.8,-20.7,9.3,-20.62), (3.775,-20.62,4.91,-20.4), (6.08,-20.62,13.19,-20.4), (8.81,-20.4,8.83,-19.73), (11.57,-20.4,12.055,-20.32), (5.89,-20.19,6.07,-19.52), (6.96,-16.43,7,-15.18), (8.34,-16.43,8.38,-15.18), (5.59,-16.3,5.62,-15.18)])
R(passgatesctrlmanual, npc, [(5.515,-16.815,5.685,-16.495)])
passgatesctrlmanual.add(gdstk.Reference(sky130_fd_sc_hd__decap_4, (3.76,-17.79)))
passgatesctrlmanual.add(gdstk.Reference(sky130_fd_sc_hd__inv_2, (8.36,-17.79)))
passgatesctrlmanual.add(gdstk.Reference(sky130_fd_sc_hd__decap_4, (3.76,-23.23)))
passgatesctrlmanual.add(gdstk.Reference(sky130_fd_sc_hd__decap_4, (12.04,-23.23)))
passgatesctrlmanual.add(gdstk.Reference(sky130_fd_sc_hd__decap_4, (10.2,-17.79)))
passgatesctrlmanual.add(gdstk.Reference(sky130_fd_sc_hd__inv_2, (10.66,-23.23)))
passgatesctrlmanual.add(gdstk.Reference(sky130_fd_sc_hd__inv_2, (9.28,-23.23)))
passgatesctrlmanual.add(gdstk.Reference(sky130_fd_sc_hd__inv_2, (7.44,-23.23)))
passgatesctrlmanual.add(gdstk.Reference(sky130_fd_sc_hd__inv_2, (6.06,-23.23)))
passgatesctrlmanual.add(gdstk.Reference(sky130_fd_sc_hd__and2_1, (14.34,-17.79), rotation=pi))
passgatesctrlmanual.add(gdstk.Reference(sky130_fd_sc_hd__and2b_1, (11.58,-17.79), rotation=pi))
passgatesctrlmanual.add(gdstk.Reference(sky130_fd_sc_hd__and2b_1, (8.82,-17.79), rotation=pi))
passgatesctrlmanual.add(gdstk.Reference(sky130_fd_sc_hd__and2_1, (6.06,-17.79), rotation=pi))
passgatesctrlmanual.add(gdstk.Reference(sky130_fd_sc_hd__tapvpwr, (8.82,-23.23)))
passgatesctrlmanual.add(gdstk.Reference(sky130_fd_sc_hd__tapvpwr, (5.6,-23.23)))
passgatesctrlmanual.add(gdstk.Reference(sky130_fd_sc_hd__tapvpwr, (12.04,-17.79), rotation=pi))
passgatesctrlmanual.add(gdstk.Reference(sky130_fd_sc_hd__tapvpwr, (9.74,-17.79)))
passgatesctrlmanual.add(gdstk.Reference(sky130_fd_sc_hd__inv_2, (6.98,-17.79)))
passgatesctrlmanual.add(gdstk.Reference(sky130_fd_sc_hd__inv_2, (5.6,-17.79)))
passgatesctrlmanual.add(gdstk.Label('nSEL0', (6.39,-16.605), layer=69, texttype=5))
passgatesctrlmanual.add(gdstk.Label('nSEL1', (7.815,-16.63), layer=69, texttype=5))
passgatesctrlmanual.add(gdstk.Label('SEL0', (3.545,-16.605), layer=68, texttype=5))
passgatesctrlmanual.add(gdstk.Label('SEL1', (3.575,-15.935), layer=68, texttype=5))
passgatesctrlmanual.add(gdstk.Label('SEL2', (3.535,-17.165), layer=68, texttype=5))
passgatesctrlmanual.add(gdstk.Label('gno0', (3.675,-23.785), layer=69, texttype=5))
passgatesctrlmanual.add(gdstk.Label('gpo0', (6.735,-23.785), layer=69, texttype=5))
passgatesctrlmanual.add(gdstk.Label('gno1', (7.125,-23.775), layer=69, texttype=5))
passgatesctrlmanual.add(gdstk.Label('gpo1', (8.125,-23.785), layer=69, texttype=5))
passgatesctrlmanual.add(gdstk.Label('gno2', (9.485,-23.775), layer=69, texttype=5))
passgatesctrlmanual.add(gdstk.Label('gpo2', (9.975,-23.775), layer=69, texttype=5))
passgatesctrlmanual.add(gdstk.Label('gno3', (10.925,-23.775), layer=69, texttype=5))
passgatesctrlmanual.add(gdstk.Label('gpo3', (11.395,-23.775), layer=69, texttype=5))
passgatesctrlmanual.add(gdstk.Label('nSEL2', (12.67,-15.615), layer=68, texttype=5))
passgatesctrlmanual.add(gdstk.Label('VPWR', (13.42,-20.51), layer=70, texttype=5))
passgatesctrlmanual.add(gdstk.Label('VPWR', (13.52,-15.085), layer=70, texttype=5))
passgatesctrlmanual.add(gdstk.Label('VGND', (4.25,-23.23), layer=70, texttype=5))
passgatesctrlmanual.add(gdstk.Label('VGND', (4.32,-17.8), layer=70, texttype=5))

lib.write_gds('passgatesCtrlManual.gds')
